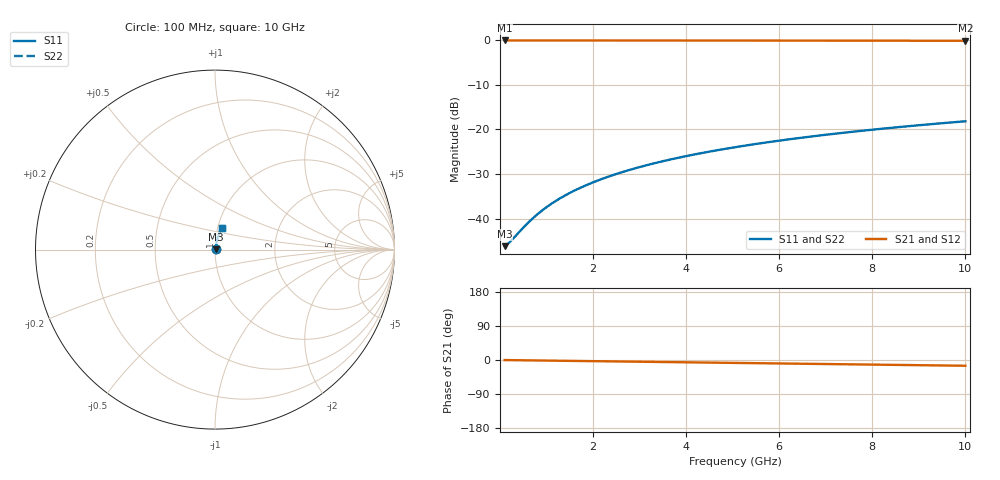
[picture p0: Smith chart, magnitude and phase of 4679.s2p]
# Hz S RI R 50.00
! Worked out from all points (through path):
!   100 points, 100 MHz to 10 GHz, reference 50 ohm
!   highest |S21| = -0.04 dB at 100 MHz (marker M1); lowest = -0.1 dB at 10 GHz (marker M2)
!   group delay of S21, straight-line fit = 4.22 ps
!   lowest |S11| = -46.2 dB at 100 MHz (marker M3), VSWR 1.01, Z = 50.5 + j0.125 ohm
!   |S11| at or under -10 dB: start of sweep to end of sweep
!   |S22| runs from -46.2 to -18.2 dB; largest |S21 - S12| = 1e-12
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1e8  0.00477 0.00124  0.9952 -0.00264  0.9952 -0.00264  0.00477 0.00124
2e8  0.00481 0.00248  0.9952 -0.00528  0.9952 -0.00528  0.00481 0.00248
6e8  0.00498 0.00745  0.995 -0.0158  0.995 -0.0158  0.00498 0.00745
7e8  0.00504 0.00869  0.9949 -0.0185  0.9949 -0.0185  0.00504 0.00869
9e8  0.00516 0.0112  0.9947 -0.0238  0.9947 -0.0238  0.00516 0.0112
1.1e9  0.00531 0.0136  0.9946 -0.029  0.9946 -0.029  0.00531 0.0136
1.3e9  0.00549 0.0161  0.9943 -0.0343  0.9943 -0.0343  0.00549 0.0161
1.5e9  0.00569 0.0186  0.9941 -0.0396  0.9941 -0.0396  0.00569 0.0186
1.8e9  0.00603 0.0223  0.9936 -0.0475  0.9936 -0.0475  0.00603 0.0223
2.1e9  0.00644 0.026  0.9931 -0.0554  0.9931 -0.0554  0.00644 0.026
2.5e9  0.00707 0.0309  0.9923 -0.0659  0.9923 -0.0659  0.00707 0.0309
2.9e9  0.0078 0.0358  0.9913 -0.0765  0.9913 -0.0765  0.0078 0.0358
3.4e9  0.00885 0.0419  0.99 -0.0896  0.99 -0.0896  0.00885 0.0419
3.8e9  0.00981 0.0468  0.9887 -0.1  0.9887 -0.1  0.00981 0.0468
4.2e9  0.0109 0.0516  0.9873 -0.1105  0.9873 -0.1105  0.0109 0.0516
4.6e9  0.012 0.0564  0.9858 -0.1209  0.9858 -0.1209  0.012 0.0564
5.1e9  0.0136 0.0624  0.9837 -0.1339  0.9837 -0.1339  0.0136 0.0624
5.9e9  0.0165 0.0719  0.98 -0.1546  0.98 -0.1546  0.0165 0.0719
6.7e9  0.0198 0.0812  0.9757 -0.1752  0.9757 -0.1752  0.0198 0.0812
7.5e9  0.0235 0.0904  0.9709 -0.1956  0.9709 -0.1956  0.0235 0.0904
8.4e9  0.028 0.1005  0.9649 -0.2184  0.9649 -0.2184  0.028 0.1005
1e10  0.0373 0.1178  0.9526 -0.2583  0.9526 -0.2583  0.0373 0.1178
